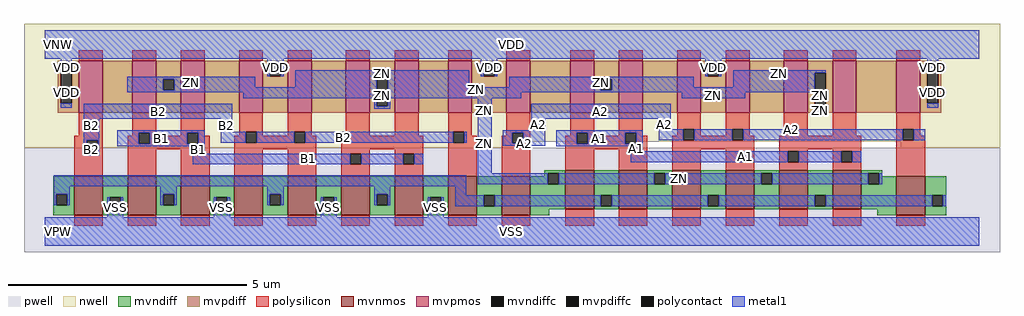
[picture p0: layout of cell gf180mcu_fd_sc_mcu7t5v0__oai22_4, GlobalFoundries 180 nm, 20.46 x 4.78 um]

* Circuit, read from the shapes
.subckt gf180mcu_fd_sc_mcu7t5v0__oai22_4 A1 A2 B1 B2 ZN VDD VNW VPW VSS
XM1 VSS B2 n1 VPW nfet_06v0 w=0.82u l=0.6u m=4
XM2 n1 B1 VSS VPW nfet_06v0 w=0.82u l=0.6u m=4
XM3 ZN A2 n1 VPW nfet_06v0 w=0.82u l=0.6u m=4
XM4 n1 A1 ZN VPW nfet_06v0 w=0.82u l=0.6u m=4
XM5 n2 B2 VDD VNW pfet_06v0 w=1.095u l=0.5u
XM6 ZN B1 n2 VNW pfet_06v0 w=1.095u l=0.5u
XM7 n3 B1 ZN VNW pfet_06v0 w=1.095u l=0.5u
XM8 VDD B2 n3 VNW pfet_06v0 w=1.095u l=0.5u
XM9 n4 B2 VDD VNW pfet_06v0 w=1.095u l=0.5u
XM10 ZN B1 n4 VNW pfet_06v0 w=1.095u l=0.5u
XM11 n5 B1 ZN VNW pfet_06v0 w=1.095u l=0.5u
XM12 VDD B2 n5 VNW pfet_06v0 w=1.095u l=0.5u
XM13 n6 A2 VDD VNW pfet_06v0 w=1.095u l=0.5u
XM14 ZN A1 n6 VNW pfet_06v0 w=1.095u l=0.5u
XM15 n7 A1 ZN VNW pfet_06v0 w=1.095u l=0.5u
XM16 VDD A2 n7 VNW pfet_06v0 w=1.095u l=0.5u
XM17 n8 A2 VDD VNW pfet_06v0 w=1.095u l=0.5u
XM18 ZN A1 n8 VNW pfet_06v0 w=1.095u l=0.5u
XM19 n9 A1 ZN VNW pfet_06v0 w=1.095u l=0.5u
XM20 VDD A2 n9 VNW pfet_06v0 w=1.095u l=0.5u
.ends

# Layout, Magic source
magic
tech gf180mcuD
magscale 1 10
<< nwell >>
rect -86 377 4006 870
rect -86 352 2018 377
rect 3590 352 4006 377
<< pwell >>
rect -86 -86 4006 352
<< mvnmos >>
rect 124 68 244 232
rect 348 68 468 232
rect 572 68 692 232
rect 796 68 916 232
rect 1020 68 1140 232
rect 1244 68 1364 232
rect 1468 68 1588 232
rect 1692 68 1812 232
rect 1916 68 2036 232
rect 2184 93 2304 257
rect 2408 93 2528 257
rect 2632 93 2752 257
rect 2856 93 2976 257
rect 3080 93 3200 257
rect 3304 93 3424 257
rect 3572 68 3692 232
<< mvpmos >>
rect 144 497 244 716
rect 368 497 468 716
rect 572 497 672 716
rect 816 497 916 716
rect 1020 497 1120 716
rect 1264 497 1364 716
rect 1468 497 1568 716
rect 1692 497 1792 716
rect 1936 497 2036 716
rect 2204 497 2304 716
rect 2408 497 2508 716
rect 2652 497 2752 716
rect 2856 497 2956 716
rect 3100 497 3200 716
rect 3304 497 3404 716
rect 3572 497 3672 716
<< mvndiff >>
rect 2096 244 2184 257
rect 2096 232 2109 244
rect 36 156 124 232
rect 36 110 49 156
rect 95 110 124 156
rect 36 68 124 110
rect 244 143 348 232
rect 244 97 273 143
rect 319 97 348 143
rect 244 68 348 97
rect 468 156 572 232
rect 468 110 497 156
rect 543 110 572 156
rect 468 68 572 110
rect 692 143 796 232
rect 692 97 721 143
rect 767 97 796 143
rect 692 68 796 97
rect 916 156 1020 232
rect 916 110 945 156
rect 991 110 1020 156
rect 916 68 1020 110
rect 1140 143 1244 232
rect 1140 97 1169 143
rect 1215 97 1244 143
rect 1140 68 1244 97
rect 1364 156 1468 232
rect 1364 110 1393 156
rect 1439 110 1468 156
rect 1364 68 1468 110
rect 1588 143 1692 232
rect 1588 97 1617 143
rect 1663 97 1692 143
rect 1588 68 1692 97
rect 1812 152 1916 232
rect 1812 106 1841 152
rect 1887 106 1916 152
rect 1812 68 1916 106
rect 2036 198 2109 232
rect 2155 198 2184 244
rect 2036 93 2184 198
rect 2304 152 2408 257
rect 2304 106 2333 152
rect 2379 106 2408 152
rect 2304 93 2408 106
rect 2528 244 2632 257
rect 2528 198 2557 244
rect 2603 198 2632 244
rect 2528 93 2632 198
rect 2752 152 2856 257
rect 2752 106 2781 152
rect 2827 106 2856 152
rect 2752 93 2856 106
rect 2976 244 3080 257
rect 2976 198 3005 244
rect 3051 198 3080 244
rect 2976 93 3080 198
rect 3200 152 3304 257
rect 3200 106 3229 152
rect 3275 106 3304 152
rect 3200 93 3304 106
rect 3424 244 3512 257
rect 3424 198 3453 244
rect 3499 232 3512 244
rect 3499 198 3572 232
rect 3424 93 3572 198
rect 2036 68 2116 93
rect 3492 68 3572 93
rect 3692 152 3780 232
rect 3692 106 3721 152
rect 3767 106 3780 152
rect 3692 68 3780 106
<< mvpdiff >>
rect 56 677 144 716
rect 56 537 69 677
rect 115 537 144 677
rect 56 497 144 537
rect 244 497 368 716
rect 468 639 572 716
rect 468 593 497 639
rect 543 593 572 639
rect 468 497 572 593
rect 672 497 816 716
rect 916 697 1020 716
rect 916 651 945 697
rect 991 651 1020 697
rect 916 497 1020 651
rect 1120 497 1264 716
rect 1364 665 1468 716
rect 1364 525 1393 665
rect 1439 525 1468 665
rect 1364 497 1468 525
rect 1568 497 1692 716
rect 1792 697 1936 716
rect 1792 651 1841 697
rect 1887 651 1936 697
rect 1792 497 1936 651
rect 2036 497 2204 716
rect 2304 639 2408 716
rect 2304 593 2333 639
rect 2379 593 2408 639
rect 2304 497 2408 593
rect 2508 497 2652 716
rect 2752 697 2856 716
rect 2752 651 2781 697
rect 2827 651 2856 697
rect 2752 497 2856 651
rect 2956 497 3100 716
rect 3200 665 3304 716
rect 3200 525 3229 665
rect 3275 525 3304 665
rect 3200 497 3304 525
rect 3404 497 3572 716
rect 3672 677 3760 716
rect 3672 537 3701 677
rect 3747 537 3760 677
rect 3672 497 3760 537
<< mvndiffc >>
rect 49 110 95 156
rect 273 97 319 143
rect 497 110 543 156
rect 721 97 767 143
rect 945 110 991 156
rect 1169 97 1215 143
rect 1393 110 1439 156
rect 1617 97 1663 143
rect 1841 106 1887 152
rect 2109 198 2155 244
rect 2333 106 2379 152
rect 2557 198 2603 244
rect 2781 106 2827 152
rect 3005 198 3051 244
rect 3229 106 3275 152
rect 3453 198 3499 244
rect 3721 106 3767 152
<< mvpdiffc >>
rect 69 537 115 677
rect 497 593 543 639
rect 945 651 991 697
rect 1393 525 1439 665
rect 1841 651 1887 697
rect 2333 593 2379 639
rect 2781 651 2827 697
rect 3229 525 3275 665
rect 3701 537 3747 677
<< polysilicon >>
rect 144 716 244 760
rect 368 716 468 760
rect 572 716 672 760
rect 816 716 916 760
rect 1020 716 1120 760
rect 1264 716 1364 760
rect 1468 716 1568 760
rect 1692 716 1792 760
rect 1936 716 2036 760
rect 2204 716 2304 760
rect 2408 716 2508 760
rect 2652 716 2752 760
rect 2856 716 2956 760
rect 3100 716 3200 760
rect 3304 716 3404 760
rect 3572 716 3672 760
rect 144 401 244 497
rect 368 413 468 497
rect 368 401 395 413
rect 124 382 244 401
rect 124 336 178 382
rect 224 336 244 382
rect 124 232 244 336
rect 348 367 395 401
rect 441 401 468 413
rect 572 413 672 497
rect 572 401 599 413
rect 441 367 599 401
rect 645 401 672 413
rect 816 419 916 497
rect 816 401 843 419
rect 645 367 692 401
rect 348 344 692 367
rect 348 232 468 344
rect 572 232 692 344
rect 796 373 843 401
rect 889 401 916 419
rect 1020 419 1120 497
rect 1020 401 1047 419
rect 889 373 1047 401
rect 1093 401 1120 419
rect 1264 401 1364 497
rect 1468 401 1568 497
rect 1692 419 1792 497
rect 1093 373 1140 401
rect 796 344 1140 373
rect 796 232 916 344
rect 1020 232 1140 344
rect 1244 344 1588 401
rect 1244 327 1364 344
rect 1244 281 1281 327
rect 1327 281 1364 327
rect 1244 232 1364 281
rect 1468 327 1588 344
rect 1468 281 1505 327
rect 1551 281 1588 327
rect 1468 232 1588 281
rect 1692 373 1713 419
rect 1759 401 1792 419
rect 1936 415 2036 497
rect 1936 401 1961 415
rect 1759 373 1812 401
rect 1692 232 1812 373
rect 1916 369 1961 401
rect 2007 369 2036 415
rect 2204 413 2304 497
rect 2204 401 2231 413
rect 1916 232 2036 369
rect 2184 367 2231 401
rect 2277 401 2304 413
rect 2408 413 2508 497
rect 2408 401 2435 413
rect 2277 367 2435 401
rect 2481 401 2508 413
rect 2652 428 2752 497
rect 2652 401 2679 428
rect 2481 367 2528 401
rect 2184 344 2528 367
rect 2184 257 2304 344
rect 2408 257 2528 344
rect 2632 382 2679 401
rect 2725 401 2752 428
rect 2856 428 2956 497
rect 2856 401 2883 428
rect 2725 382 2883 401
rect 2929 401 2956 428
rect 3100 401 3200 497
rect 3304 401 3404 497
rect 3572 428 3672 497
rect 2929 382 2976 401
rect 2632 344 2976 382
rect 2632 257 2752 344
rect 2856 257 2976 344
rect 3080 344 3424 401
rect 3080 336 3200 344
rect 3080 290 3117 336
rect 3163 290 3200 336
rect 3080 257 3200 290
rect 3304 336 3424 344
rect 3304 290 3341 336
rect 3387 290 3424 336
rect 3304 257 3424 290
rect 3572 382 3599 428
rect 3645 401 3672 428
rect 3645 382 3692 401
rect 3572 232 3692 382
rect 124 24 244 68
rect 348 24 468 68
rect 572 24 692 68
rect 796 24 916 68
rect 1020 24 1140 68
rect 1244 24 1364 68
rect 1468 24 1588 68
rect 1692 24 1812 68
rect 1916 24 2036 68
rect 2184 24 2304 93
rect 2408 24 2528 93
rect 2632 24 2752 93
rect 2856 24 2976 93
rect 3080 24 3200 93
rect 3304 24 3424 93
rect 3572 24 3692 68
<< polycontact >>
rect 178 336 224 382
rect 395 367 441 413
rect 599 367 645 413
rect 843 373 889 419
rect 1047 373 1093 419
rect 1281 281 1327 327
rect 1505 281 1551 327
rect 1713 373 1759 419
rect 1961 369 2007 415
rect 2231 367 2277 413
rect 2435 367 2481 413
rect 2679 382 2725 428
rect 2883 382 2929 428
rect 3117 290 3163 336
rect 3341 290 3387 336
rect 3599 382 3645 428
<< metal1 >>
rect 0 724 3920 844
rect 69 677 115 724
rect 934 697 1002 724
rect 934 651 945 697
rect 991 651 1002 697
rect 1830 697 1898 724
rect 1051 665 1781 676
rect 346 639 884 648
rect 346 593 497 639
rect 543 605 884 639
rect 1051 605 1393 665
rect 543 593 1393 605
rect 346 584 1393 593
rect 834 559 1393 584
rect 69 518 115 537
rect 165 472 788 536
rect 1382 525 1393 559
rect 1439 605 1781 665
rect 1830 651 1841 697
rect 1887 651 1898 697
rect 2770 697 2838 724
rect 2770 651 2781 697
rect 2827 651 2838 697
rect 3701 677 3747 724
rect 2888 665 3275 676
rect 1948 639 2721 648
rect 1948 605 2333 639
rect 1439 593 2333 605
rect 2379 605 2721 639
rect 2888 605 3229 665
rect 2379 593 3229 605
rect 1439 584 3229 593
rect 1439 559 1998 584
rect 2671 559 2938 584
rect 1439 525 1450 559
rect 1382 514 1450 525
rect 165 382 229 472
rect 165 336 178 382
rect 224 336 229 382
rect 306 413 672 424
rect 306 367 395 413
rect 441 367 599 413
rect 645 367 672 413
rect 738 419 788 472
rect 738 373 843 419
rect 889 373 1047 419
rect 1093 373 1713 419
rect 1759 373 1770 419
rect 306 357 672 367
rect 165 317 229 336
rect 622 327 672 357
rect 622 281 1281 327
rect 1327 281 1505 327
rect 1551 281 1588 327
rect 1816 244 1876 559
rect 2040 472 2625 536
rect 3229 497 3275 525
rect 3701 518 3747 537
rect 2040 424 2100 472
rect 2575 428 2625 472
rect 1922 415 2100 424
rect 1922 369 1961 415
rect 2007 369 2100 415
rect 1922 360 2100 369
rect 2146 413 2508 424
rect 2146 367 2231 413
rect 2277 367 2435 413
rect 2481 367 2508 413
rect 2575 382 2679 428
rect 2725 382 2883 428
rect 2929 382 3599 428
rect 3645 382 3692 428
rect 2146 357 2508 367
rect 2458 336 2508 357
rect 2458 290 3117 336
rect 3163 290 3341 336
rect 3387 290 3424 336
rect 38 189 1768 235
rect 1816 198 2109 244
rect 2155 198 2557 244
rect 2603 198 3005 244
rect 3051 198 3453 244
rect 3499 198 3512 244
rect 38 156 106 189
rect 38 110 49 156
rect 95 110 106 156
rect 486 156 554 189
rect 262 97 273 143
rect 319 97 330 143
rect 486 110 497 156
rect 543 110 554 156
rect 934 156 1002 189
rect 262 60 330 97
rect 710 97 721 143
rect 767 97 778 143
rect 934 110 945 156
rect 991 110 1002 156
rect 1382 156 1450 189
rect 710 60 778 97
rect 1158 97 1169 143
rect 1215 97 1226 143
rect 1382 110 1393 156
rect 1439 110 1450 156
rect 1722 152 1768 189
rect 1158 60 1226 97
rect 1606 97 1617 143
rect 1663 97 1674 143
rect 1722 106 1841 152
rect 1887 106 2333 152
rect 2379 106 2781 152
rect 2827 106 3229 152
rect 3275 106 3721 152
rect 3767 106 3780 152
rect 1606 60 1674 97
rect 0 -60 3920 60
<< labels >>
flabel metal1 s 306 357 672 424 0 FreeSans 400 0 0 0 B1
port 3 nsew default input
flabel metal1 s 0 724 3920 844 0 FreeSans 400 0 0 0 VDD
port 6 nsew power bidirectional abutment
flabel metal1 s 1606 60 1674 143 0 FreeSans 400 0 0 0 VSS
port 9 nsew ground bidirectional abutment
flabel metal1 s 2888 648 3275 676 0 FreeSans 400 0 0 0 ZN
port 5 nsew default output
flabel metal1 s 2146 357 2508 424 0 FreeSans 400 0 0 0 A1
port 1 nsew default input
flabel metal1 s 2040 472 2625 536 0 FreeSans 400 0 0 0 A2
port 2 nsew default input
flabel metal1 s 165 472 788 536 0 FreeSans 400 0 0 0 B2
port 4 nsew default input
flabel nwell s 10 734 110 834 0 FreeSans 400 0 0 0 VNW
port 7 nsew power bidirectional
flabel pwell s 10 -50 110 50 0 FreeSans 400 0 0 0 VPW
port 8 nsew ground bidirectional
rlabel metal1 s 2458 336 2508 357 1 A1
port 1 nsew default input
rlabel metal1 s 2458 290 3424 336 1 A1
port 1 nsew default input
rlabel metal1 s 2575 428 2625 472 1 A2
port 2 nsew default input
rlabel metal1 s 2040 428 2100 472 1 A2
port 2 nsew default input
rlabel metal1 s 2575 424 3692 428 1 A2
port 2 nsew default input
rlabel metal1 s 2040 424 2100 428 1 A2
port 2 nsew default input
rlabel metal1 s 2575 382 3692 424 1 A2
port 2 nsew default input
rlabel metal1 s 1922 382 2100 424 1 A2
port 2 nsew default input
rlabel metal1 s 1922 360 2100 382 1 A2
port 2 nsew default input
rlabel metal1 s 622 327 672 357 1 B1
port 3 nsew default input
rlabel metal1 s 622 281 1588 327 1 B1
port 3 nsew default input
rlabel metal1 s 738 419 788 472 1 B2
port 4 nsew default input
rlabel metal1 s 165 419 229 472 1 B2
port 4 nsew default input
rlabel metal1 s 738 373 1770 419 1 B2
port 4 nsew default input
rlabel metal1 s 165 373 229 419 1 B2
port 4 nsew default input
rlabel metal1 s 165 317 229 373 1 B2
port 4 nsew default input
rlabel metal1 s 1051 648 1781 676 1 ZN
port 5 nsew default output
rlabel metal1 s 2888 605 3275 648 1 ZN
port 5 nsew default output
rlabel metal1 s 1948 605 2721 648 1 ZN
port 5 nsew default output
rlabel metal1 s 1051 605 1781 648 1 ZN
port 5 nsew default output
rlabel metal1 s 346 605 884 648 1 ZN
port 5 nsew default output
rlabel metal1 s 346 584 3275 605 1 ZN
port 5 nsew default output
rlabel metal1 s 3229 559 3275 584 1 ZN
port 5 nsew default output
rlabel metal1 s 2671 559 2938 584 1 ZN
port 5 nsew default output
rlabel metal1 s 834 559 1998 584 1 ZN
port 5 nsew default output
rlabel metal1 s 3229 514 3275 559 1 ZN
port 5 nsew default output
rlabel metal1 s 1816 514 1876 559 1 ZN
port 5 nsew default output
rlabel metal1 s 1382 514 1450 559 1 ZN
port 5 nsew default output
rlabel metal1 s 3229 497 3275 514 1 ZN
port 5 nsew default output
rlabel metal1 s 1816 497 1876 514 1 ZN
port 5 nsew default output
rlabel metal1 s 1816 244 1876 497 1 ZN
port 5 nsew default output
rlabel metal1 s 1816 198 3512 244 1 ZN
port 5 nsew default output
rlabel metal1 s 3701 651 3747 724 1 VDD
port 6 nsew power bidirectional abutment
rlabel metal1 s 2770 651 2838 724 1 VDD
port 6 nsew power bidirectional abutment
rlabel metal1 s 1830 651 1898 724 1 VDD
port 6 nsew power bidirectional abutment
rlabel metal1 s 934 651 1002 724 1 VDD
port 6 nsew power bidirectional abutment
rlabel metal1 s 69 651 115 724 1 VDD
port 6 nsew power bidirectional abutment
rlabel metal1 s 3701 518 3747 651 1 VDD
port 6 nsew power bidirectional abutment
rlabel metal1 s 69 518 115 651 1 VDD
port 6 nsew power bidirectional abutment
rlabel metal1 s 1158 60 1226 143 1 VSS
port 9 nsew ground bidirectional abutment
rlabel metal1 s 710 60 778 143 1 VSS
port 9 nsew ground bidirectional abutment
rlabel metal1 s 262 60 330 143 1 VSS
port 9 nsew ground bidirectional abutment
rlabel metal1 s 0 -60 3920 60 1 VSS
port 9 nsew ground bidirectional abutment
<< properties >>
string FIXED_BBOX 0 0 3920 784
string GDS_END 35834
string GDS_FILE $PDKPATH/libs.ref/gf180mcu_fd_sc_mcu7t5v0/gds/gf180mcu_fd_sc_mcu7t5v0.gds
string GDS_START 28668
string LEFclass core
string LEFsite GF018hv5v_mcu_sc7
string LEFsymmetry X Y
<< end >>
